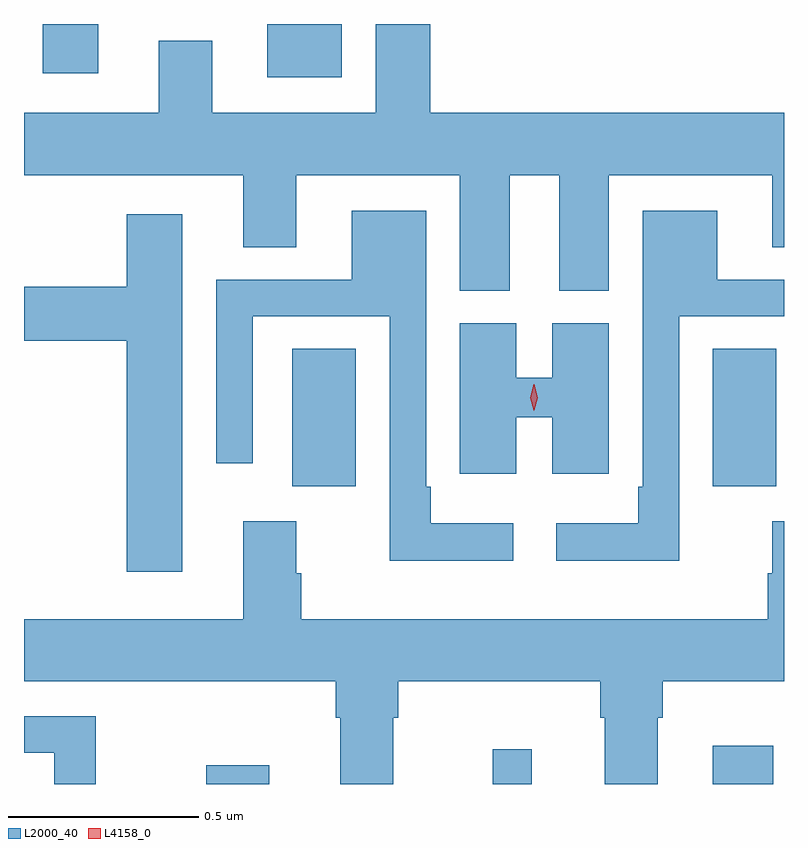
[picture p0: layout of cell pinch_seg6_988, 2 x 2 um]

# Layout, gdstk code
import gdstk
lib = gdstk.Library(unit=1e-6, precision=1e-09)
def R(c, l, rs):  # rectangles x0, y0, x1, y1
    for r in rs: c.add(gdstk.rectangle(r[:2], r[2:], *l))
def P(c, l, *ps):  # polygons
    for p in ps: c.add(gdstk.Polygon(p, *l))
L2000_40 = (2000, 40)
L4158_0 = (4158, 0)

pinch_seg6_988 = lib.new_cell('pinch_seg6_988')
R(pinch_seg6_988, L2000_40, [(314.299,941.738,314.464,941.788), (315.052,941.738,315.155,941.83), (315.632,941.738,315.791,941.839), (314.525,942.522,314.692,942.884), (315.632,942.522,315.799,942.884), (314.459,943.598,314.655,943.738), (313.868,943.608,314.014,943.738)])
P(pinch_seg6_988, L2000_40, [(315.097,943.34),(315.227,943.34),(315.227,943.036),(315.358,943.036),(315.358,943.34),(315.788,943.34),(315.788,943.15),(315.819,943.15),(315.819,943.504),(314.888,943.504),(314.888,943.738),(314.744,943.738),(314.744,943.504),(314.314,943.504),(314.314,943.694),(314.174,943.694),(314.174,943.504),(313.819,943.504),(313.819,943.34),(314.396,943.34),(314.396,943.15),(314.536,943.15),(314.536,943.34),(314.966,943.34),(314.966,943.036),(315.097,943.036)],
  [(315.106,942.424),(314.89,942.424),(314.89,942.52),(314.877,942.52),(314.877,943.246),(314.681,943.246),(314.681,943.065),(314.325,943.065),(314.325,942.582),(314.421,942.582),(314.421,942.969),(314.781,942.969),(314.781,942.326),(315.106,942.326)],
  [(315.543,942.969),(315.819,942.969),(315.819,943.065),(315.643,943.065),(315.643,943.246),(315.447,943.246),(315.447,942.52),(315.435,942.52),(315.435,942.424),(315.219,942.424),(315.219,942.326),(315.543,942.326)],
  [(314.236,943.237),(314.09,943.237),(314.09,943.047),(313.819,943.047),(313.819,942.905),(314.09,942.905),(314.09,942.297),(314.236,942.297)],
  [(315.115,942.703),(315.209,942.703),(315.209,942.555),(315.358,942.555),(315.358,942.951),(315.209,942.951),(315.209,942.807),(315.115,942.807),(315.115,942.951),(314.966,942.951),(314.966,942.555),(315.115,942.555)],
  [(314.791,941.912),(314.804,941.912),(314.804,942.008),(315.335,942.008),(315.335,941.912),(315.347,941.912),(315.347,941.738),(315.487,941.738),(315.487,941.912),(315.5,941.912),(315.5,942.008),(315.819,942.008),(315.819,942.43),(315.788,942.43),(315.788,942.293),(315.776,942.293),(315.776,942.172),(314.549,942.172),(314.549,942.293),(314.536,942.293),(314.536,942.43),(314.396,942.43),(314.396,942.172),(313.819,942.172),(313.819,942.008),(314.639,942.008),(314.639,941.912),(314.651,941.912),(314.651,941.738),(314.791,941.738)],
  [(314.008,941.916),(313.819,941.916),(313.819,941.82),(313.899,941.82),(313.899,941.738),(314.008,941.738)])
P(pinch_seg6_988, L4158_0, [(315.161,942.72),(315.161,942.721),(315.151,942.755),(315.161,942.79),(315.161,942.79),(315.162,942.79),(315.171,942.755),(315.162,942.721)])

lib.write_gds('pinch_seg6_988.gds')
